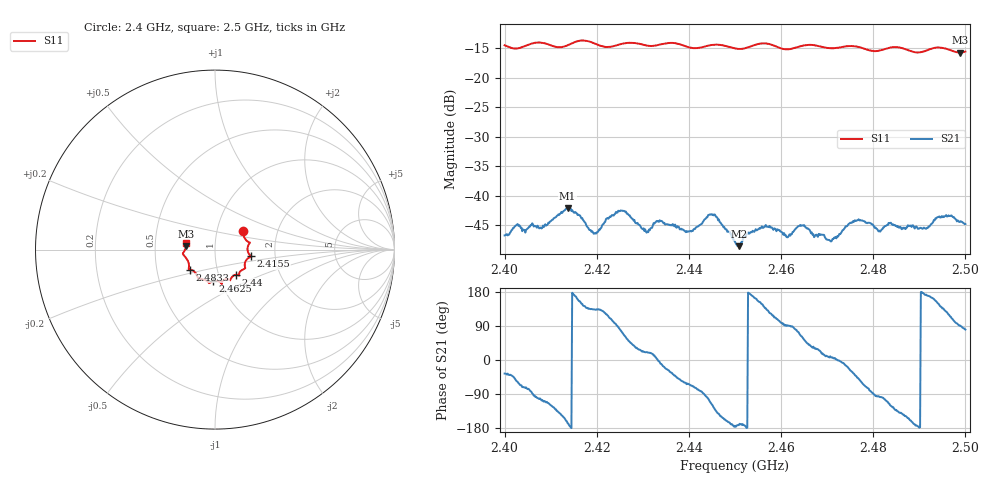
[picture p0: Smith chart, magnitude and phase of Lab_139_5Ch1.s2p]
# Hz S RI R 50
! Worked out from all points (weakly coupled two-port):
!   601 points, 2.4 GHz to 2.5 GHz, reference 50 ohm
!   highest |S21| = -42.07 dB at 2.4137 GHz (marker M1); lowest = -48.6 dB at 2.4508 GHz (marker M2)
!   lowest |S11| = -15.7 dB at 2.4988 GHz (marker M3), VSWR 1.39, Z = 36 + j1.38 ohm
!   |S11| at or under -10 dB: start of sweep to end of sweep
!   S12 and S22 are empty: the file has one direction only
!   S11 on the Smith chart (normalised r, x): 2.4 GHz: 1.33, +0.29; 2.4155 GHz: 1.49, -0.11; 2.44 GHz: 1.21, -0.35; 2.4625 GHz: 0.92, -0.34; 2.4833 GHz: 0.74, -0.17; 2.5 GHz: 0.72, +0.06
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2.4e9  0.1561 0.1058  0.00374 -0.00269  0 0  0 0
2.408e9  0.1947 0.038  -0.00151 -0.00505  0 0  0 0
2.413667e9  0.1873 -0.0208  -0.00767 -0.00183  0 0  0 0
2.4155e9  0.199 -0.0362  -0.00699 0.0016  0 0  0 0
2.416667e9  0.2028 -0.0404  -0.00549 0.00333  0 0  0 0
2.419667e9  0.1891 -0.045  -0.00328 0.00354  0 0  0 0
2.425167e9  0.1669 -0.0962  0.00152 0.00734  0 0  0 0
2.430667e9  0.1488 -0.1152  0.00463 0.00173  0 0  0 0
2.433333e9  0.1342 -0.134  0.00611 -0.000228  0 0  0 0
2.44e9  0.1152 -0.1398  0.00221 -0.00447  0 0  0 0
2.445167e9  0.0851 -0.17  -0.00349 -0.006  0 0  0 0
2.45e9  0.0641 -0.1654  -0.00403 -0.00047  0 0  0 0
2.450833e9  0.0555 -0.1664  -0.00369 -0.000546  0 0  0 0
2.456167e9  0.0384 -0.1919  -0.00424 0.00326  0 0  0 0
2.4625e9  -0.0106 -0.1767  0.000161 0.00492  0 0  0 0
2.466667e9  -0.0332 -0.1869  0.00402 0.00276  0 0  0 0
2.470667e9  -0.0546 -0.1693  0.00408 0.000696  0 0  0 0
2.476333e9  -0.0944 -0.1579  0.0045 -0.00414  0 0  0 0
2.481333e9  -0.1235 -0.1164  -0.000623 -0.00502  0 0  0 0
2.483333e9  -0.1397 -0.1113  -0.00243 -0.00535  0 0  0 0
2.498833e9  -0.1623 0.0186  -0.000121 0.00601  0 0  0 0
2.5e9  -0.1623 0.0375  0.000968 0.00568  0 0  0 0
